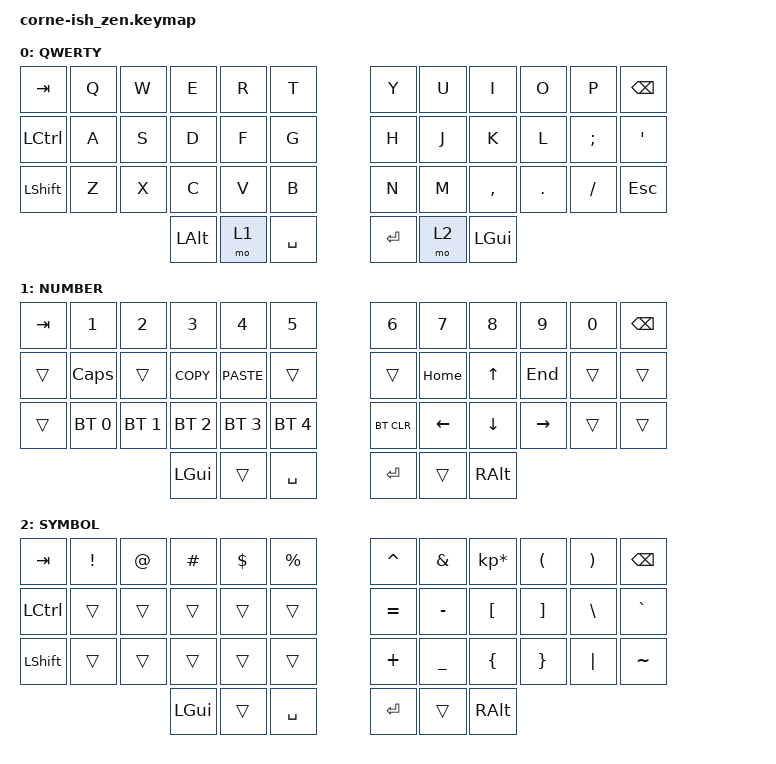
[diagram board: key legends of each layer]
/*
*
* Copyright (c) 2021 Darryl deHaan
* SPDX-License-Identifier: MIT
*
*/

#include <behaviors.dtsi>
#include <dt-bindings/zmk/keys.h>
#include <dt-bindings/zmk/bt.h>

/ {
  chosen {
    zmk,matrix_transform = &default_transform;
    //zmk,matrix_transform = &five_column_transform;
  };
};

/ {
        keymap {
                compatible = "zmk,keymap";

                default_layer {
                        label = "QWERTY";
// mmoon
// -----------------------------------------------------------------------------------------
// |  TAB |  Q  |  W  |  E  |  R  |  T  |   |  Y  |  U   |  I  |  O  |  P  | BKSP |
// | CTRL |  A  |  S  |  D  |  F  |  G  |   |  H  |  J   |  K  |  L  |  ;  |  '   |
// | SHFT |  Z  |  X  |  C  |  V  |  B  |   |  N  |  M   |  ,  |  .  |  /  | ESC  |
//                    | ALT | LWR | SPC |   | ENT | RSE  | GUI |
                        bindings = <
   &kp TAB   &kp Q &kp W &kp E &kp R &kp T   &kp Y &kp U  &kp I     &kp O   &kp P    &kp BSPC
   &kp LCTRL &kp A &kp S &kp D &kp F &kp G   &kp H &kp J  &kp K     &kp L   &kp SEMI &kp SQT
   &kp LSHFT &kp Z &kp X &kp C &kp V &kp B   &kp N &kp M  &kp COMMA &kp DOT &kp FSLH &kp ESC
                  &kp LALT &mo 1 &kp SPACE   &kp RET &mo 2 &kp LGUI
                        >;
                };
                lower_layer {
                        label = "NUMBER";
// -----------------------------------------------------------------------------------------
// |  TAB |  1  |  2  |  3  |  4  |  5  |   |  6  |  7  |  8  |  9  |  0  | BKSP |
// |      | CAPS|     | COPY| PSTE|     |   |     | HOME| UP  | END |     |      |
// |      | BT1 | BT2 | BT3 | BT4 | BT5 |   |BTCLR| LFT | DWN | RGT |     |      |
//                    | ALT |     | SPC |   | ENT |     | GUI |
                        bindings = <
   &kp TAB &kp N1       &kp N2       &kp N3        &kp N4        &kp N5         &kp N6      &kp N7     &kp N8   &kp N9    &kp N0  &kp BSPC
   &trans  &kp CAPS     &trans       &kp K_COPY    &kp K_PASTE   &trans         &trans      &kp HOME   &kp UP   &kp END   &trans  &trans
   &trans  &bt BT_SEL 0 &bt BT_SEL 1 &bt BT_SEL 2  &bt BT_SEL 3  &bt BT_SEL 4   &bt BT_CLR  &kp LEFT   &kp DOWN &kp RIGHT &trans  &trans
                          	         &kp LGUI      &trans           &kp SPACE      &kp RET  &trans   &kp RALT
                        >;
                };

                raise_layer {
                        label = "SYMBOL";
// -----------------------------------------------------------------------------------------
// |  TAB |  !  |  @  |  #  |  $  |  %  |   |  ^  |  &  |  *  |  (  |  )  | BKSP |
// | CTRL |     |     |     |     |     |   |  =  |  -  |  [  |  ]  |  \  |  `   |
// | SHFT |     |     |     |     |     |   |  +  |  _  |  {  |  }  | "|" |  ~   |
//                    | GUI |     | SPC |   | ENT |     | ALT |
                        bindings = <
   &kp  TAB  &kp EXCL &kp AT &kp HASH &kp DLLR &kp PRCNT   &kp CARET &kp AMPS  &kp KP_MULTIPLY &kp LPAR &kp RPAR &kp BSPC
   &kp LCTRL &trans   &trans &trans   &trans   &trans      &kp EQUAL &kp MINUS &kp LBKT        &kp RBKT &kp BSLH &kp GRAVE
   &kp LSHFT &trans   &trans &trans   &trans   &trans      &kp PLUS  &kp UNDER &kp LBRC        &kp RBRC &kp PIPE &kp TILDE
                    	     &kp LGUI &trans   &kp SPACE   &kp RET   &trans    &kp RALT
                        >;
                };
        };
};
